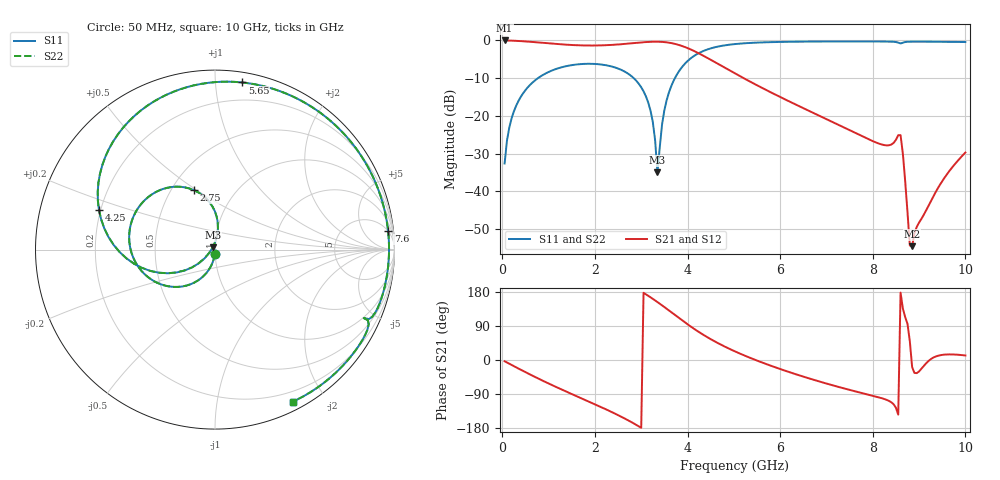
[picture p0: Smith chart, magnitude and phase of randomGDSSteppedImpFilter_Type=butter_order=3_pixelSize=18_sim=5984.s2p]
! freq	dB(S11)	phase(S11)	dB(S12)	phase(S12)
!  dB(S21)	phase(S21)	dB(S22)	phase(S22)
!S-par simulation data
#  GHz  S  DB  R 50
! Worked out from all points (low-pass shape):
!   200 points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, 50 MHz to 10 GHz, reference 50 ohm
!   highest |S21| = -0.01 dB at 50 MHz (marker M1); lowest = -54.5 dB at 8.85 GHz (marker M2)
!   |S21| within 3 dB of the highest: start of sweep to 4.175 GHz
!   lowest |S11| = -35.0 dB at 3.35 GHz (marker M3), VSWR 1.04, Z = 48.8 + j1.29 ohm
!   |S11| at or under -10 dB: start of sweep to 770.6 MHz; 2.838 GHz to 3.728 GHz (889.8 MHz wide, 27.1 % of centre)
!   |S22| runs from -34.8 to -0.3 dB; largest |S21 - S12| = 0
!   S11 on the Smith chart (normalised r, x): 50 MHz: 1.00, -0.05; 2.75 GHz: 0.65, +0.49; 4.25 GHz: 0.19, +0.16; 5.65 GHz: 0.07, +1.17; 7.6 GHz: 5, +17; 10 GHz: 0.09, -1.63
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0.05  -32.61 -93.2  -0.01 -3.3  -0.01 -3.3  -32.61 -93.2
0.2  -20.69 -103.3  -0.06 -13.0  -0.06 -13.0  -20.69 -103.3
0.5  -13.17 -122.5  -0.26 -32.0  -0.26 -32.0  -13.17 -122.5
1.1  -7.84 -158.2  -0.87 -67.7  -0.87 -67.7  -7.84 -158.2
1.75  -6.23 166.3  -1.33 -103.3  -1.33 -103.3  -6.23 166.3
2.75  -9.09 109.4  -0.81 -161.4  -0.81 -161.4  -9.09 109.5
3.2  -18.56 81.9  -0.37 165.5  -0.37 165.5  -18.56 82.1
3.35  -34.98 132.0  -0.34 152.9  -0.34 152.9  -34.80 132.4
3.4  -28.39 -149.5  -0.35 148.6  -0.35 148.6  -28.34 -150.1
3.5  -18.47 -139.9  -0.44 139.7  -0.44 139.7  -18.47 -140.1
3.65  -12.06 -149.2  -0.70 126.0  -0.70 126.0  -12.06 -149.3
4.25  -3.32 161.2  -3.47 73.5  -3.47 73.5  -3.32 161.2
5.05  -0.93 110.1  -8.92 21.3  -8.92 21.3  -0.93 110.1
5.65  -0.51 80.7  -12.83 -8.5  -12.83 -8.5  -0.51 80.7
6.7  -0.30 37.9  -19.12 -51.4  -19.12 -51.4  -0.30 37.9
7.6  -0.27 6.2  -24.38 -82.0  -24.38 -82.0  -0.27 6.2
8.35  -0.31 -18.0  -27.79 -107.9  -27.79 -107.9  -0.31 -18.0
8.6  -0.80 -24.7  -25.09 177.8  -25.09 177.8  -0.80 -24.7
8.8  -0.34 -29.5  -54.34 49.4  -54.34 49.4  -0.34 -29.5
8.85  -0.32 -31.1  -54.53 -18.7  -54.53 -18.7  -0.32 -31.1
9.4  -0.35 -46.8  -39.29 10.9  -39.29 10.9  -0.35 -46.8
10  -0.43 -62.9  -29.71 12.0  -29.71 12.0  -0.43 -62.8
